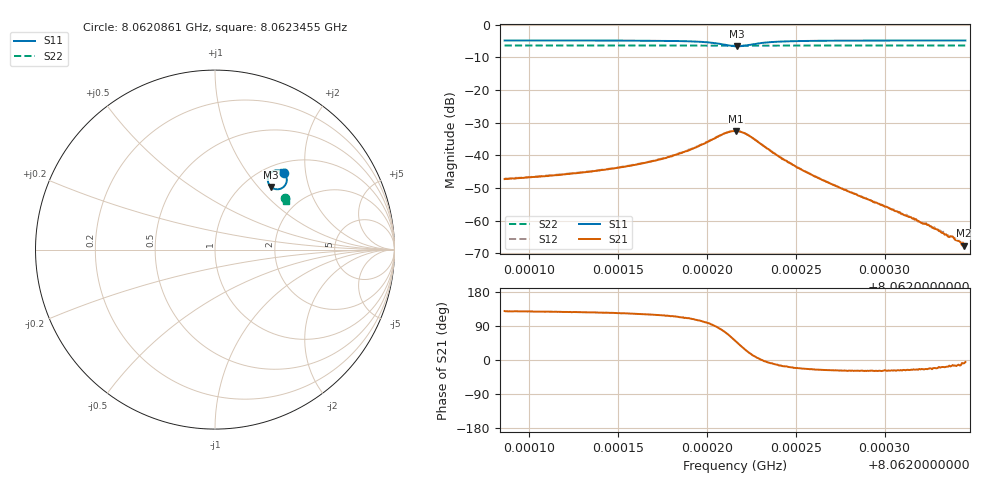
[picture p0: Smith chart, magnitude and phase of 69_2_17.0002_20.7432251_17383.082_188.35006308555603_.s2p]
#  HZ  S  RI  R  50.00
! Rohde & Schwarz Vector Network Analyzer
! Rohde-Schwarz,ZNB20-2Port,1311601062101988,3.16
! Created: UTC 3/20/2024, 10:55:08 PM
! freq[Hz]  re:S11  im:S11  re:S21  im:S21  re:S12  im:S12  re:S22  im:S22
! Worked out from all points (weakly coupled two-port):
!   401 points, 8.0620861 GHz to 8.0623455 GHz, reference 50 ohm
!   highest |S21| = -32.51 dB at 8.0622164 GHz (marker M1); lowest = -67.6 dB at 8.0623448 GHz (marker M2)
!   lowest |S11| = -6.6 dB at 8.0622171 GHz (marker M3), VSWR 2.76, Z = 65.6 + j58.7 ohm
!   |S11| at or under -10 dB: nowhere
!   |S22| runs from -6.4 to -6.3 dB; largest |S21 - S12| = 0.0018
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8.0620861e9  0.3829 0.4294  -0.00274 0.00337  -0.00254 0.00361  0.3886 0.2853
8.06212954e9  0.3887 0.423  -0.00321 0.00444  -0.00298 0.00467  0.39 0.2829
8.06215029e9  0.3921 0.4178  -0.0036 0.00543  -0.00335 0.00569  0.3907 0.2818
8.06217299e9  0.3972 0.4071  -0.00415 0.00759  -0.00369 0.00794  0.3915 0.2801
8.06218985e9  0.4003 0.3893  -0.0042 0.0112  -0.00347 0.0119  0.3919 0.2787
8.06220152e9  0.3932 0.3629  -0.00182 0.0166  -0.000491 0.0171  0.3917 0.2772
8.06220995e9  0.3623 0.3381  0.00581 0.0209  0.00737 0.0206  0.3901 0.276
8.06221579e9  0.3208 0.3428  0.0146 0.0184  0.016 0.0176  0.3887 0.2768
8.06221643e9  0.3163 0.3458  0.0156 0.0178  0.0169 0.0168  0.3884 0.277
8.06221708e9  0.312 0.3491  0.0164 0.017  0.0177 0.0158  0.3884 0.277
8.06222227e9  0.2941 0.3843  0.0192 0.00868  0.0198 0.00749  0.3883 0.2786
8.06223265e9  0.3145 0.431  0.0135 -0.000829  0.0134 -0.00174  0.3902 0.2797
8.06224237e9  0.3362 0.4412  0.00843 -0.00242  0.00853 -0.003  0.3916 0.2795
8.06225923e9  0.3559 0.4415  0.00456 -0.00209  0.00445 -0.00237  0.393 0.2783
8.06227609e9  0.3655 0.439  0.00274 -0.00145  0.00268 -0.00164  0.3938 0.2773
8.06230268e9  0.3736 0.4355  0.00137 -0.000725  0.00132 -0.000799  0.395 0.2758
8.06232473e9  0.3778 0.433  0.0008 -0.000338  0.000753 -0.000386  0.3958 0.2746
8.06233251e9  0.379 0.4322  0.000615 -0.000204  0.000615 -0.000269  0.3961 0.2742
8.0623364e9  0.3796 0.4318  0.000545 -0.000145  0.000516 -0.00022  0.3963 0.2739
8.06234094e9  0.3803 0.4314  0.000483 -0.000121  0.000501 -0.000113  0.3964 0.2737
8.06234483e9  0.3807 0.4311  0.000412 -6.13e-05  0.000406 -0.000111  0.3967 0.2735
8.06234548e9  0.3808 0.431  0.000423 -3.87e-05  0.0004 -8.09e-05  0.3965 0.2735
